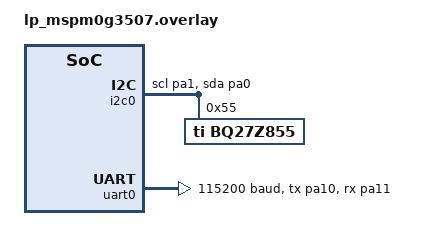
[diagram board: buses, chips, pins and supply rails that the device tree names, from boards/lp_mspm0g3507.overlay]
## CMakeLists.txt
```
cmake_minimum_required(VERSION 3.20.0)
find_package(Zephyr REQUIRED HINTS $ENV{ZEPHYR_BASE})
project(bq27z8xx_shell)

target_sources(app PRIVATE src/main.c)
```

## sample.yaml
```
sample:
  name: TI BQ27Z8XX Fuel Gauge Shell
  description: >
    Interactive shell interface for the TI BQ27Z8XX fuel gauge family
    (BQ27Z758 and BQ27Z855).  Connect a terminal at 115200 baud and use the
    bq27z8xx commands to inspect device status, lifetime data, security mode,
    and raw MAC registers.
  tags:
    - fuel_gauge
    - ti
    - bq27z8xx
    - shell
  platforms:
    - lp_mspm0g3507
    - native_sim
```

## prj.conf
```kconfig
CONFIG_I2C=y
CONFIG_FUEL_GAUGE=y
CONFIG_BQ27Z8XX_SHELL=y

# Shell subsystem — serial backend connects to the terminal program
CONFIG_SHELL=y
CONFIG_SHELL_BACKEND_SERIAL=y
CONFIG_SHELL_ARGC_MAX=36
CONFIG_LOG=y
```

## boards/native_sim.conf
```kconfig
CONFIG_EMUL=y
CONFIG_I2C_EMUL=y
CONFIG_EMUL_BQ27Z8XX=y
```

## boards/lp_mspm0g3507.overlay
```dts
/*
 * SPDX-License-Identifier: Apache-2.0
 */

&i2c0_scl_pa1 {
	input-enable;
};

&i2c0_sda_pa0 {
	input-enable;
};

&i2c0 {
	pinctrl-0 = <&i2c0_scl_pa1 &i2c0_sda_pa0>;
	pinctrl-names = "default";
	merge-buf-size = <64>;
	status = "okay";

	bq27z855: bq27z855@55 {
		compatible = "ti,bq27z855";
		reg = <0x55>;
	};
};

&uart0 {
	current-speed = <115200>;
	clocks = <&ckm MSPM0_CLOCK_ULPCLK>;
	pinctrl-0 = <&uart0_tx_pa10 &uart0_rx_pa11>;
	status = "okay";
};
```

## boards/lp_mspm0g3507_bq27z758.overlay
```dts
/*
 * SPDX-License-Identifier: Apache-2.0
 */

&i2c0_scl_pa1 {
	input-enable;
};

&i2c0_sda_pa0 {
	input-enable;
};

&i2c0 {
	pinctrl-0 = <&i2c0_scl_pa1 &i2c0_sda_pa0>;
	pinctrl-names = "default";
	merge-buf-size = <64>;
	status = "okay";

	bq27z758: bq27z758@55 {
		compatible = "ti,bq27z758";
		reg = <0x55>;
	};
};

&uart0 {
	current-speed = <115200>;
	clocks = <&ckm MSPM0_CLOCK_ULPCLK>;
	pinctrl-0 = <&uart0_tx_pa10 &uart0_rx_pa11>;
	status = "okay";
};
```

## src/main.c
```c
/*
 * Copyright (c) 2026 Texas Instruments Incorporated
 *
 * SPDX-License-Identifier: Apache-2.0
 *
 * BQ27Z8XX interactive shell sample.
 *
 * The shell runs on UART0 at 115200 baud.  Connect any terminal program and
 * send  'bq27z8xx help'  to see available subcommands.
 *
 * All interaction is handled by the shell thread; main() has nothing to do.
 */

int main(void)
{
	return 0;
}
```
